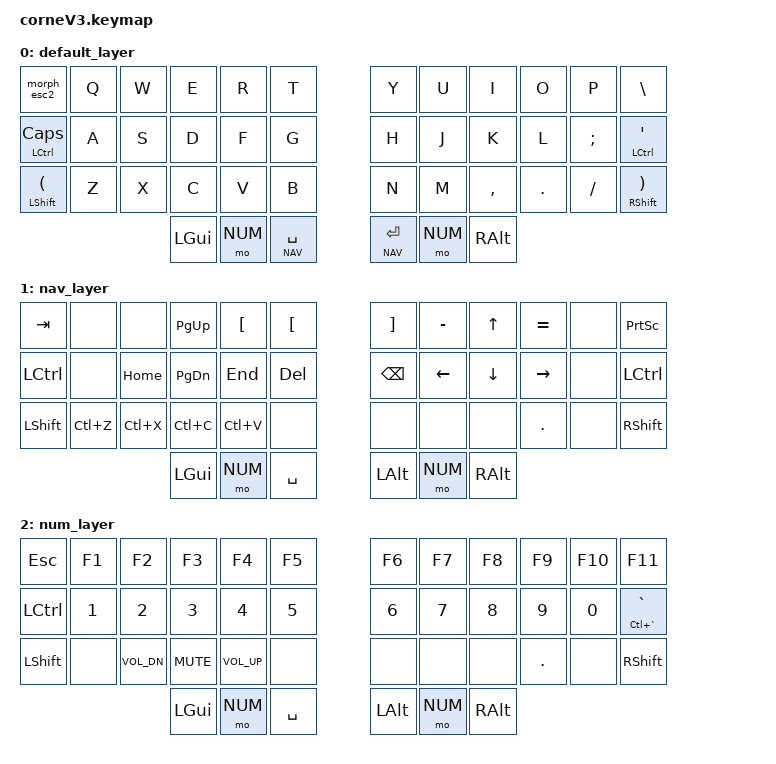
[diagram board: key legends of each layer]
/*
 * Copyright (c) 2020 The ZMK Contributors
 *
 * SPDX-License-Identifier: MIT
 */

#include <behaviors.dtsi>
#include <dt-bindings/zmk/keys.h>
#include <dt-bindings/zmk/bt.h>
#include <dt-bindings/zmk/outputs.h>

#define DEFAULT 0
#define NAV 1
#define NUM 2
// #define FUN 4

# define ______ &trans

/ {

    behaviors {
        lt1: layer_tap {
            compatible = "zmk,behavior-hold-tap";
            #binding-cells = <2>;
            flavor = "tap-preferred";
            tapping-term-ms = <200>;
            bindings = <&mo>, <&kp>;
            display-name = "Layer-Tap";
            require-prior-idle-ms = <125>;
        };        

        grave_ctrl: grave_ctrl {
            compatible = "zmk,behavior-hold-tap";
            label = "GRAVE_CTRL";
            binding-cells = <2>;
            bindings = <&kp>, <&kp>; // NOTE: Hold binding first, then Tap binding!
            // --- Optional Parameters ---
            tapping-term-ms = <200>;        // Time (ms) to decide between tap and hold. Adjust as needed.
            // flavor = "tap-preferred";    // Optional: Makes tapping easier if you sometimes hold briefly after tapping.
                                            // Other flavors: "hold-preferred", "balanced" (default)
            // quick-tap-ms = <150>;        // Optional: Taps within this time after another key are always taps (requires flavor != "hold-preferred")
        };

        morph_esc: morph_esc {
            compatible = "zmk,behavior-mod-morph";
            #binding-cells = <0>;
            bindings = <&kp TAB>, <&kp ESC>;
            mods = <(MOD_LCTL)>;
            keep-mods = <(MOD_LCTL)>;
        };

        morph_esc2: morph_esc2 {
            compatible = "zmk,behavior-mod-morph";
            #binding-cells = <0>;
            bindings = <&kp TAB>, <&morph_esc>;
            mods = <(MOD_LSFT)>;
            keep-mods = <(MOD_LSFT)>;
        };

        bspc_del: backspace_delete {
            compatible = "zmk,behavior-mod-morph";
            #binding-cells = <0>;
            bindings = <&kp BACKSPACE>, <&kp DELETE>;
            mods = <(MOD_LSFT|MOD_RSFT)>;
            keep-mods = <(MOD_RSFT)>;
        };
        super_bspc: super_backspace {
            compatible = "zmk,behavior-mod-morph";
            #binding-cells = <0>;
            bindings = <&kp BACKSPACE>, <&kp LA(BACKSPACE)>;
            mods = <(MOD_LSFT|MOD_RSFT)>;
        };
        smart_shft: smart_shift {
            compatible = "zmk,behavior-mod-morph";
            #binding-cells = <0>;
            bindings = <&kp LSHFT>, <&caps_word>;
            mods = <(MOD_LSFT)>;
        };
        comma_semi: comma_semi {
            compatible = "zmk,behavior-mod-morph";
            #binding-cells = <0>;
            bindings = <&kp COMMA>, <&kp SEMI>;
            mods = <(MOD_LSFT)>;
        };
        slh_morph: slh_morph {
            compatible = "zmk,behavior-mod-morph";
            #binding-cells = <0>;
            bindings = <&kp FSLH>, <&kp BSLH>;
            mods = <(MOD_LSFT)>;
        };
        amps_morph: amps_morph {
            compatible = "zmk,behavior-mod-morph";
            #binding-cells = <0>;
            bindings = <&kp AMPS>, <&kp PIPE>;
            mods = <(MOD_LSFT)>;
        };
    };

    combos {
        compatible = "zmk,combos"; // 콤보 기능 사용 선언

        // 1. F11 + F10 -> F12
        combo_f12 {
            timeout-ms = <50>; // 콤보 인식 시간 (ms)
            key-positions = <10 11>; // F11과 F10 키의 *물리적 위치 인덱스*. 사용자의 키보드 레이아웃에 맞게 수정해야 함!
            bindings = <&kp F12>;   // F12 키코드 출력
            layers = <2>; // 특정 레이어에서만 동작하게 하려면 추가 (예: 기본 레이어 0)
        };

        // 2. [ + - -> []
        combo_brackets {
            timeout-ms = <50>;
            key-positions = <4 7>; // '[' 와 '-' 키의 *물리적 위치 인덱스*. 사용자의 키보드 레이아웃에 맞게 수정해야 함!
            bindings = <&macro_brackets>; // 아래 정의된 매크로 호출
            layers = <1>;
        };

        // 3. End + Left Arrow -> ()
        combo_parens {
            timeout-ms = <50>;
            key-positions = <16 19>; // End 와 Left Arrow 키의 *물리적 위치 인덱스*. 사용자의 키보드 레이아웃에 맞게 수정해야 함!
            bindings = <&macro_parens>; // 아래 정의된 매크로 호출
            layers = <1>;
        };
    }; // combos 끝

    macros {
        // 2번 콤보용 매크로: [] 입력
        macro_brackets: macro_brackets {
            compatible = "zmk,behavior-macro";
            label = "MACRO_BRACKETS"; // 매크로 이름 (ZMK 내부용)
            #binding-cells = <0>;
            bindings = <&kp LBKT &kp RBKT>; // '[' 키코드(LBKT) 누르고 ']' 키코드(RBKT) 누르기
        };

        // 3번 콤보용 매크로: () 입력
        macro_parens: macro_parens {
            compatible = "zmk,behavior-macro";
            label = "MACRO_PARENS";
            #binding-cells = <0>;
            bindings = <&kp LPAR &kp RPAR>; // '(' 키코드(LPAR) 누르고 ')' 키코드(RPAR) 누르기
        };
    }; // macros 끝    

        keymap {
                compatible = "zmk,keymap";

                default_layer {
                        bindings = <
// ╭─────────────┬─────────────┬─────────────┬─────────────┬─────────────┬─────────────╮   ╭─────────────┬─────────────┬─────────────┬─────────────┬─────────────┬─────────────╮
    &morph_esc2       &kp Q         &kp W         &kp E         &kp R         &kp T             &kp Y         &kp U         &kp I         &kp O         &kp P        &kp BSLH   
// ├─────────────┼─────────────┼─────────────┼─────────────┼─────────────┼─────────────┤   ├─────────────┼─────────────┼─────────────┼─────────────┼─────────────┬─────────────┤
    &mt LCTRL CAPS    &kp A         &kp S         &kp D         &kp F         &kp G             &kp H         &kp J         &kp K         &kp L        &kp SEMI   &mt LCTRL APOS
// ├─────────────┼─────────────┼─────────────┼─────────────┼─────────────┼─────────────┤   ├─────────────┼─────────────┼─────────────┼─────────────┼─────────────┬─────────────┤
    &mt LSHFT LPAR    &kp Z         &kp X         &kp C         &kp V         &kp B             &kp N         &kp M        &kp COMMA     &kp DOT       &kp FSLH   &mt RSHFT RPAR
// ╰─────────────┼─────────────┴─────────────┼─────────────┼─────────────┼─────────────┤   ├─────────────┼─────────────┼─────────────┼─────────────┴─────────────┴─────────────╯
                                                  &kp LGUI      &mo NUM   &lt1 NAV SPACE     &lt1 NAV RET    &mo NUM       &kp RALT
//                                           ╰─────────────┴─────────────┴─────────────╯   ╰─────────────┴─────────────┴─────────────╯
                        >;
                };

                nav_layer {
                        bindings = <
// ╭─────────────┬─────────────┬─────────────┬─────────────┬─────────────┬─────────────╮   ╭─────────────┬─────────────┬─────────────┬─────────────┬─────────────┬─────────────╮
       &kp TAB        &none         &none       &kp PG_UP      &kp LBKT      &kp LBKT          &kp RBKT     &kp MINUS       &kp UP       &kp EQUAL      &none       &kp PSCRN   
// ├─────────────┼─────────────┼─────────────┼─────────────┼─────────────┼─────────────┤   ├─────────────┼─────────────┼─────────────┼─────────────┼─────────────┬─────────────┤
       &kp LCTRL      &none        &kp HOME    &kp PG_DN     &kp END        &kp DEL          &kp BSPC      &kp LEFT      &kp DOWN      &kp RIGHT      &none       &kp LCTRL
// ├─────────────┼─────────────┼─────────────┼─────────────┼─────────────┼─────────────┤   ├─────────────┼─────────────┼─────────────┼─────────────┼─────────────┬─────────────┤
       &kp LSHFT     &kp LC(Z)     &kp LC(X)     &kp LC(C)     &kp LC(V)      &none             &none         &none         &none         &kp DOT       &none       &kp RSHFT
// ╰─────────────┼─────────────┴─────────────┼─────────────┼─────────────┼─────────────┤   ├─────────────┼─────────────┼─────────────┼─────────────┴─────────────┴─────────────╯
                                                 &kp LGUI      &mo NUM      &kp SPACE           &kp LALT      &mo NUM       &kp RALT
//                                           ╰─────────────┴─────────────┴─────────────╯   ╰─────────────┴─────────────┴─────────────╯
                        >;
                };
 
                num_layer {
                        bindings = <
// ╭─────────────┬─────────────┬─────────────┬─────────────┬─────────────┬─────────────╮   ╭─────────────┬─────────────┬─────────────┬─────────────┬─────────────┬─────────────╮
       &kp ESC        &kp F1        &kp F2        &kp F3        &kp F4        &kp F5            &kp F6        &kp F7        &kp F8        &kp F9       &kp F10       &kp F11   
// ├─────────────┼─────────────┼─────────────┼─────────────┼─────────────┼─────────────┤   ├─────────────┼─────────────┼─────────────┼─────────────┼─────────────┬─────────────┤
       &kp LCTRL      &kp N1        &kp N2        &kp N3        &kp N4        &kp N5            &kp N6        &kp N7        &kp N8        &kp N9       &kp N0      &grave_ctrl LC(GRAVE) GRAVE
// ├─────────────┼─────────────┼─────────────┼─────────────┼─────────────┼─────────────┤   ├─────────────┼─────────────┼─────────────┼─────────────┼─────────────┬─────────────┤
       &kp LSHFT      &none      &kp C_VOL_DN   &kp C_MUTE   &kp C_VOL_UP     &none             &none         &none         &none        &kp DOT        &none        &kp RSHFT
// ╰─────────────┼─────────────┴─────────────┼─────────────┼─────────────┼─────────────┤   ├─────────────┼─────────────┼─────────────┼─────────────┴─────────────┴─────────────╯
                                                  &kp LGUI      &mo NUM     &kp SPACE           &kp LALT      &mo NUM      &kp RALT
//                                           ╰─────────────┴─────────────┴─────────────╯   ╰─────────────┴─────────────┴─────────────╯
                        >;
                };
        };
};
